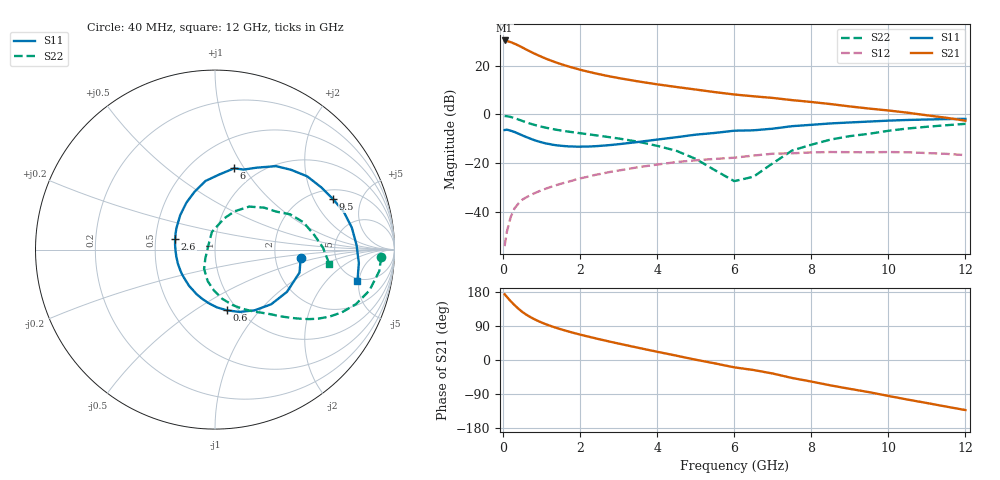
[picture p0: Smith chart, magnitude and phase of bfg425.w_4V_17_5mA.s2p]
! Filename: 417bfg425.001
! BFG425W Field C1
! V1=8.378E-001V,V2=4.000E+000V, I1=2.095E-004A, I2=1.749E-002A
# GHz  S  MA  R 50
!  S11  S21  S12  S22
!Freq(GHz)  Mag  Ang  Mag  Ang  Mag  Ang  Mag  Ang
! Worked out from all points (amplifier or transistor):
!   44 points, 40 MHz to 12 GHz, reference 50 ohm
!   highest |S21| = 30.3 dB at 40 MHz (marker M1)
!   |S21| within 3 dB of that: start of sweep to 515 MHz
!   unconditionally stable (mu >= 1): start of sweep to 49.96 MHz; 1.445 GHz to end of sweep
!   at 700 MHz: K = 0.71, MSG = 29.5 dB, |S12| = -33.2 dB
!   at 2.4 GHz: K = 1.13, MAG = 18.6 dB, |S12| = -24.7 dB
!   at 12 GHz: K = 1.35, MAG = 3.5 dB, |S12| = -16.7 dB
!   S11 on the Smith chart (normalised r, x): 40 MHz: 2.80, -0.32; 600 MHz: 0.89, -0.69; 2.6 GHz: 0.63, +0.08; 6 GHz: 0.78, +0.90; 9.5 GHz: 2.50, +2.87; 12 GHz: 4.59, -4.79
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0.04  0.48 -5.3  32.9 173.4  0.002 45.0  0.927 -2.5
0.1  0.488 -15.2  31.98 166.6  0.004 74.2  0.923 -7.5
0.2  0.465 -30.4  30.41 154.9  0.008 71.8  0.89 -14.8
0.3  0.437 -44.1  28.21 144.6  0.012 69.0  0.842 -21.2
0.4  0.404 -56.9  25.9 135.3  0.015 66.0  0.789 -26.3
0.5  0.373 -68.6  23.63 126.8  0.018 63.2  0.738 -30.4
0.6  0.345 -78.8  21.48 119.8  0.02 61.6  0.692 -33.8
0.8  0.3 -97.0  17.93 108.3  0.024 59.0  0.617 -38.7
0.9  0.283 -104.8  16.48 103.4  0.026 58.1  0.587 -40.7
1  0.269 -112.3  15.2 98.9  0.028 57.4  0.561 -42.5
1.2  0.248 -125.8  13.11 91.1  0.032 56.2  0.519 -45.7
1.6  0.225 -149.5  10.19 78.1  0.04 53.7  0.457 -51.2
2.2  0.22 -178.4  7.562 62.0  0.053 48.8  0.394 -59.9
2.6  0.23 165.2  6.429 52.4  0.062 44.8  0.357 -66.2
3.5  0.273 135.2  4.772 32.4  0.083 33.9  0.277 -81.6
4.5  0.342 109.5  3.659 11.4  0.106 19.7  0.18 -103.1
6  0.465 76.8  2.571 -19.4  0.13 -4.5  0.043 149.2
6.5  0.474 70.2  2.36 -26.4  0.144 -7.5  0.053 127.4
8.5  0.656 38.5  1.635 -67.0  0.17 -44.5  0.306 51.5
9.5  0.716 23.1  1.323 -84.8  0.168 -61.3  0.402 31.7
10.5  0.772 9.2  1.088 -104.4  0.168 -80.0  0.516 17.2
12  0.813 -12.6  0.746 -132.1  0.147 -110.3  0.643 -7.4
